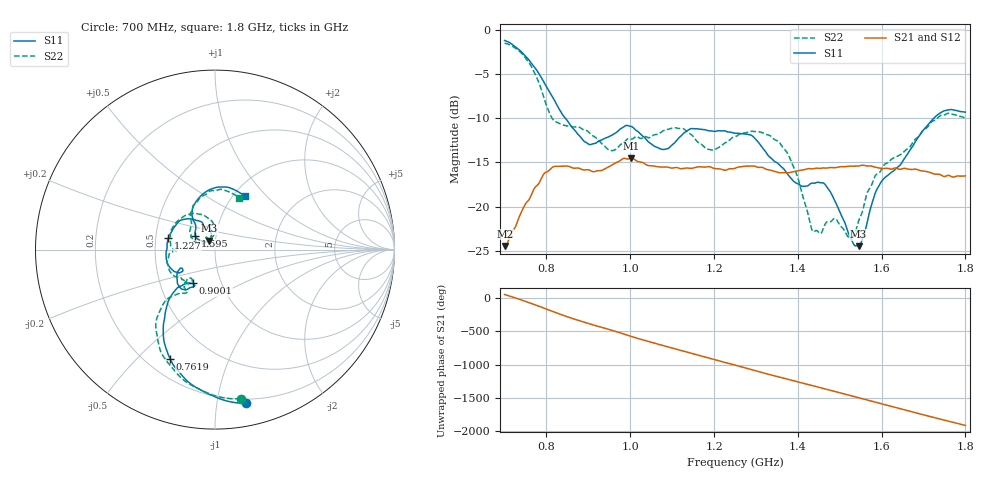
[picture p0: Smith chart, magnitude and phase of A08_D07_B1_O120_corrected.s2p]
! Created with skrf 1.9.0 (http://scikit-rf.org).
# Hz S RI R 50.0
!freq ReS11 ImS11 ReS21 ImS21 ReS12 ImS12 ReS22 ImS22
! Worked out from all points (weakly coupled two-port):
!   1601 points, 700 MHz to 1.8 GHz, reference 50 ohm
!   highest |S21| = -14.53 dB at 1.002 GHz (marker M1); lowest = -24.5 dB at 700.7 MHz (marker M2)
!   lowest |S11| = -24.5 dB at 1.545 GHz (marker M3), VSWR 1.13, Z = 46.6 + j4.67 ohm
!   |S11| at or under -10 dB: 845.1 MHz to 1.724 GHz (879.3 MHz wide, 68.4 % of centre)
!   |S22| runs from -23.5 to -1.5 dB; largest |S21 - S12| = 0.0036
!   S11 on the Smith chart (normalised r, x): 700 MHz: 0.17, -1.21; 761.9 MHz: 0.29, -0.63; 900.1 MHz: 0.73, -0.29; 1.227 GHz: 0.58, +0.08; 1.595 GHz: 0.79, +0.12; 1.8 GHz: 1.12, +0.76
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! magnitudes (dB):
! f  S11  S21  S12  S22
! 700 MHz  -1.2  -24.5  -24.3  -1.5
! 700.7 MHz  -1.2  -24.5  -24.2  -1.5
! 761.9 MHz  -3.6  -18.9  -18.8  -4.0
! 815.5 MHz  -7.7  -15.5  -15.6  -10.1
! 883.6 MHz  -12.2  -15.8  -15.7  -11.2
! 900.1 MHz  -12.9  -15.8  -15.8  -11.5
! 953.7 MHz  -12.0  -15.4  -15.4  -13.7
! 1.002 GHz  -10.9  -14.5  -14.6  -12.4
! 1.067 GHz  -13.4  -15.5  -15.5  -11.8
! 1.145 GHz  -11.2  -15.7  -15.7  -11.8
! 1.227 GHz  -11.4  -15.9  -15.8  -12.8
! 1.25 GHz  -11.7  -15.7  -15.6  -12.1
! 1.357 GHz  -15.3  -16.2  -16.1  -12.8
! 1.396 GHz  -17.3  -16.0  -16.0  -16.2
! 1.434 GHz  -17.3  -15.7  -15.7  -22.6
! 1.469 GHz  -17.8  -15.6  -15.6  -21.7
! 1.526 GHz  -23.5  -15.4  -15.4  -23.5
! 1.545 GHz  -24.5  -15.4  -15.4  -21.7
! 1.595 GHz  -17.5  -15.6  -15.6  -16.1
! 1.617 GHz  -16.4  -15.7  -15.7  -14.9
! 1.733 GHz  -9.6  -16.3  -16.4  -10.0
! 1.8 GHz  -9.3  -16.5  -16.5  -10.0
